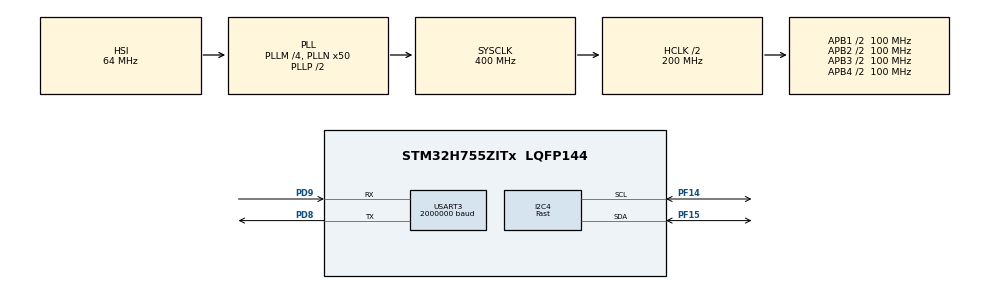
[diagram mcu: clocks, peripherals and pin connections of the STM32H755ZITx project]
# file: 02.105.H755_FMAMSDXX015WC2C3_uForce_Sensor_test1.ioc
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CortexM4.IPs=FATFS_M4\:I,FREERTOS_M4\:I,IWDG2\:I,RCC,WWDG2\:I,DMA,BDMA,MDMA,NVIC2\:I,ETH,DEBUG,PDM2PCM_M4\:I,PWR,RESMGR_UTILITY,SYS_M4\:I,USB_DEVICE_M4\:I,USB_HOST_M4\:I,CORTEX_M4\:I,GPIO,OPENAMP_M4\:I,VREFBUF,NUCLEO-H755ZI-Q
CortexM7.IPs=FATFS_M7\:I,FREERTOS_M7\:I,IWDG1\:I,RCC\:I,WWDG1\:I,DMA\:I,BDMA\:I,MDMA\:I,NVIC1\:I,ETH\:I,USB_OTG_FS\:I,SYS\:I,CORTEX_M7\:I,DEBUG\:I,PDM2PCM_M7\:I,PWR\:I,RESMGR_UTILITY\:I,USB_DEVICE_M7\:I,USB_HOST_M7\:I,GPIO\:I,OPENAMP_M7\:I,VREFBUF\:I,NUCLEO-H755ZI-Q\:I,USART3\:I,I2C4\:I
Dma.Request0=USART3_TX
Dma.Request1=USART3_RX
Dma.USART3_RX.1.Direction=DMA_PERIPH_TO_MEMORY
Dma.USART3_RX.1.EventEnable=DISABLE
Dma.USART3_RX.1.FIFOMode=DMA_FIFOMODE_DISABLE
Dma.USART3_RX.1.Instance=DMA1_Stream1
Dma.USART3_RX.1.MemDataAlignment=DMA_MDATAALIGN_BYTE
Dma.USART3_RX.1.MemInc=DMA_MINC_ENABLE
Dma.USART3_RX.1.Mode=DMA_CIRCULAR
Dma.USART3_RX.1.PeriphDataAlignment=DMA_PDATAALIGN_BYTE
Dma.USART3_RX.1.PeriphInc=DMA_PINC_DISABLE
Dma.USART3_RX.1.Polarity=HAL_DMAMUX_REQ_GEN_RISING
Dma.USART3_RX.1.Priority=DMA_PRIORITY_LOW
Dma.USART3_RX.1.RequestNumber=1
Dma.USART3_RX.1.SignalID=NONE
Dma.USART3_RX.1.SyncEnable=DISABLE
Dma.USART3_RX.1.SyncPolarity=HAL_DMAMUX_SYNC_NO_EVENT
Dma.USART3_RX.1.SyncRequestNumber=1
Dma.USART3_RX.1.SyncSignalID=NONE
Dma.USART3_TX.0.Direction=DMA_MEMORY_TO_PERIPH
Dma.USART3_TX.0.EventEnable=DISABLE
Dma.USART3_TX.0.FIFOMode=DMA_FIFOMODE_DISABLE
Dma.USART3_TX.0.Instance=DMA1_Stream0
Dma.USART3_TX.0.MemDataAlignment=DMA_MDATAALIGN_BYTE
Dma.USART3_TX.0.MemInc=DMA_MINC_ENABLE
Dma.USART3_TX.0.Mode=DMA_NORMAL
Dma.USART3_TX.0.PeriphDataAlignment=DMA_PDATAALIGN_BYTE
Dma.USART3_TX.0.PeriphInc=DMA_PINC_DISABLE
Dma.USART3_TX.0.Polarity=HAL_DMAMUX_REQ_GEN_RISING
Dma.USART3_TX.0.Priority=DMA_PRIORITY_LOW
Dma.USART3_TX.0.RequestNumber=1
Dma.USART3_TX.0.SignalID=NONE
Dma.USART3_TX.0.SyncEnable=DISABLE
Dma.USART3_TX.0.SyncPolarity=HAL_DMAMUX_SYNC_NO_EVENT
Dma.USART3_TX.0.SyncRequestNumber=1
Dma.USART3_TX.0.SyncSignalID=NONE
I2C4.I2C_Speed_Mode=I2C_Fast
I2C4.Timing=0x009034B6
Mcu.Family=STM32H7
Mcu.Name=STM32H755ZITx
Mcu.Package=LQFP144
NVIC1.DMA1_Stream0_IRQn=true\:0\:0\:false\:false\:true\:false\:true\:true
NVIC1.DMA1_Stream1_IRQn=true\:0\:0\:false\:false\:true\:false\:true\:true
NVIC1.PriorityGroup=NVIC_PRIORITYGROUP_4
NVIC1.USART3_IRQn=true\:0\:0\:false\:false\:true\:true\:true\:true
NVIC2.PriorityGroup=NVIC_PRIORITYGROUP_4
PB0.TagName=LD1
PB14.TagName=LD3
PC13.TagName=BUTTON
PD8.Mode=Asynchronous
PD8.PinAttribute=CortexM7
PD8.Signal=USART3_TX
PD8.TagName=VCP_RX
PD9.Mode=Asynchronous
PD9.PinAttribute=CortexM7
PD9.Signal=USART3_RX
PD9.TagName=VCP_TX
PE1.TagName=LD2
PF14.Mode=I2C
PF14.PinAttribute=CortexM7
PF14.Signal=I2C4_SCL
PF15.Mode=I2C
PF15.PinAttribute=CortexM7
PF15.Signal=I2C4_SDA
ProjectManager.HeapSize=M4-0x200,M7-0x200
ProjectManager.StackSize=M4-0x400,M7-0x400
ProjectManager.TargetToolchain=STM32CubeIDE
RCC.ADCFreq_Value=129000000
RCC.APB1Freq_Value=100000000
RCC.APB2Freq_Value=100000000
RCC.APB3Freq_Value=100000000
RCC.APB4Freq_Value=100000000
RCC.CortexFreq_Value=400000000
RCC.D1PPRE=RCC_APB3_DIV2
RCC.D2PPRE1=RCC_APB1_DIV2
RCC.D2PPRE2=RCC_APB2_DIV2
RCC.D3PPRE=RCC_APB4_DIV2
RCC.DIVM1=4
RCC.DIVN1=50
RCC.DIVQ1=5
RCC.HCLKFreq_Value=200000000
RCC.HPRE=RCC_HCLK_DIV2
RCC.PLL2FRACN=0
RCC.PLL3FRACN=0
RCC.PLLFRACN=0
RCC.SYSCLKFreq_VALUE=400000000
RCC.SYSCLKSource=RCC_SYSCLKSOURCE_PLLCLK
RCC.SupplySource=PWR_DIRECT_SMPS_SUPPLY
RCC.USBFreq_Value=160000000
USART3.BaudRate=2000000
USART3.VirtualMode-Asynchronous=VM_ASYNC
VP_SYS_M4_VS_Systick.Mode=SysTick
board=NUCLEO-H755ZI-Q

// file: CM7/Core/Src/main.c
/* USER CODE BEGIN Header */
/**
  ******************************************************************************
  * @file           : main.c
  * @brief          : Main program body
  ******************************************************************************
  * @attention
  *
  * Copyright (c) 2025 STMicroelectronics.
  * All rights reserved.
  *
  * This software is licensed under terms that can be found in the LICENSE file
  * in the root directory of this software component.
  * If no LICENSE file comes with this software, it is provided AS-IS.
  *
  ******************************************************************************
  */
/* USER CODE END Header */
#include "main.h"

/* USER CODE BEGIN Includes */
#include <stdio.h>
#include <string.h>
#include <stddef.h>
#include <stdarg.h>
#include <stdbool.h>
#include <stdlib.h>
/* USER CODE END Includes */

/* USER CODE BEGIN PD */

/* DUAL_CORE_BOOT_SYNC_SEQUENCE: Define for dual core boot synchronization    */
/*                             demonstration code based on hardware semaphore */
/* This define is present in both CM7/CM4 projects                            */
/* To comment when developping/debugging on a single core                     */
#define DUAL_CORE_BOOT_SYNC_SEQUENCE

#if defined(DUAL_CORE_BOOT_SYNC_SEQUENCE)
#ifndef HSEM_ID_0
#define HSEM_ID_0 (0U) /* HW semaphore 0*/
#endif
#endif /* DUAL_CORE_BOOT_SYNC_SEQUENCE */

/* USER CODE END PD */

I2C_HandleTypeDef hi2c4;

UART_HandleTypeDef huart3;
DMA_HandleTypeDef hdma_usart3_tx;
DMA_HandleTypeDef hdma_usart3_rx;

/* USER CODE BEGIN PV */

#define DEBUG_QUEUE_SIZE 8
#define DEBUG_MSG_LEN    128

static char debug_queue[DEBUG_QUEUE_SIZE][DEBUG_MSG_LEN];
static volatile uint8_t dbg_head = 0;
static volatile uint8_t dbg_tail = 0;
static volatile uint8_t dbg_busy = 0;

uint8_t dma_rx_buffer[64];

typedef struct
{
    float force_n;        // Force in Newtons
    float temperature_c;  // Temperature in Celsius
} MicroForce_Data_t;

/* I2C address */
#define MICROFORCE_I2C_ADDR   (0x28 << 1)

/* ===== SENSOR CONFIGURATION ===== */
/* Adjust to your exact sensor variant */
#define RATED_FORCE_N   15.0f     // datasheet 15 N sensor

/* ===== ADC CONSTANTS ===== */
#define ADC_COUNTS_MAX  16383.0f
#define OUTPUT_MIN      (0.2f * ADC_COUNTS_MAX)
#define OUTPUT_MAX      (0.8f * ADC_COUNTS_MAX)

HAL_StatusTypeDef MicroForce_Read(MicroForce_Data_t *data)
{
    uint8_t rx[4];

    if (HAL_I2C_Master_Receive(&hi2c4,
                              MICROFORCE_I2C_ADDR,
                              rx,
                              4,
                              10) != HAL_OK)
    {
        return HAL_ERROR;
    }

    /* Status bits (top 2 bits of byte 0) */
    uint8_t status = rx[0] >> 6;
    if (status != 0x00)
        return HAL_ERROR;

    /* 14-bit force output */
    uint16_t raw_force =
        ((rx[0] & 0x3F) << 8) | rx[1];

    /* 11-bit temperature output */
    uint16_t raw_temp =
        ((uint16_t)rx[2] << 3) | (rx[3] >> 5);

    /* ===== FORCE CONVERSION (Equation 2) ===== */
    data->force_n =
        ((raw_force - OUTPUT_MIN) * RATED_FORCE_N) /
        (OUTPUT_MAX - OUTPUT_MIN);

    /* ===== TEMPERATURE CONVERSION (Equation 3) ===== */
    data->temperature_c =
        ((float)raw_temp * 200.0f / 2047.0f) - 50.0f;

    return HAL_OK;
}

/* USER CODE END PV */

void SystemClock_Config(void);
static void MX_GPIO_Init(void);
static void MX_DMA_Init(void);
static void MX_USART3_UART_Init(void);
static void MX_I2C4_Init(void);

/* USER CODE BEGIN 0 */

static uint8_t queue_next(uint8_t idx)
{
    return (idx + 1) % DEBUG_QUEUE_SIZE;
}

void DebugPrint(const char *format, ...)
{
    uint8_t next = queue_next(dbg_head);

    // Queue full → drop message (safe behavior)
    if (next == dbg_tail)
        return;

    va_list args;
    va_start(args, format);
    vsnprintf(debug_queue[dbg_head], DEBUG_MSG_LEN, format, args);
    va_end(args);

    dbg_head = next;

    // Start TX if idle
    if (!dbg_busy)
    {
        dbg_busy = 1;
        HAL_UART_Transmit_DMA(
            &huart3,
            (uint8_t *)debug_queue[dbg_tail],
            strlen(debug_queue[dbg_tail])
        );
    }
}

void check_dma_data(void)
{
    static uint16_t old_pos = 0;
    static uint32_t total_pos = 0;

    uint16_t pos =
        sizeof(dma_rx_buffer) - __HAL_DMA_GET_COUNTER(&hdma_usart3_rx);

    if (pos == old_pos)
        return;

    char msg[128];
    int len = 0;

    if (pos > old_pos)
    {
        for (uint16_t i = old_pos; i < pos; i++)
        {
            len += snprintf(&msg[len], sizeof(msg) - len,
                            "[%lu] %02X '%c'\r\n",
                            total_pos++, dma_rx_buffer[i],
                            dma_rx_buffer[i]);
        }
    }
    else
    {
        for (uint16_t i = old_pos; i < sizeof(dma_rx_buffer); i++)
        {
            len += snprintf(&msg[len], sizeof(msg) - len,
                            "[%lu] %02X '%c'\r\n",
                            total_pos++, dma_rx_buffer[i],
                            dma_rx_buffer[i]);
        }

        for (uint16_t i = 0; i < pos; i++)
        {
            len += snprintf(&msg[len], sizeof(msg) - len,
                            "[%lu] %02X '%c'\r\n",
                            total_pos++, dma_rx_buffer[i],
                            dma_rx_buffer[i]);
        }
    }

    DebugPrint("%s", msg);
    old_pos = pos;
}

MicroForce_Data_t mf;

/* USER CODE END 0 */

int main(void)
{

/* USER CODE BEGIN Boot_Mode_Sequence_0 */
#if defined(DUAL_CORE_BOOT_SYNC_SEQUENCE)
  int32_t timeout;
#endif /* DUAL_CORE_BOOT_SYNC_SEQUENCE */
/* USER CODE END Boot_Mode_Sequence_0 */

/* USER CODE BEGIN Boot_Mode_Sequence_1 */
#if defined(DUAL_CORE_BOOT_SYNC_SEQUENCE)
  /* Wait until CPU2 boots and enters in stop mode or timeout*/
  timeout = 0xFFFF;
  while((__HAL_RCC_GET_FLAG(RCC_FLAG_D2CKRDY) != RESET) && (timeout-- > 0));
  if ( timeout < 0 )
  {
  Error_Handler();
  }
#endif /* DUAL_CORE_BOOT_SYNC_SEQUENCE */
/* USER CODE END Boot_Mode_Sequence_1 */
  /* MCU Configuration--------------------------------------------------------*/

  /* Reset of all peripherals, Initializes the Flash interface and the Systick. */
  HAL_Init();

  /* Configure the system clock */
  SystemClock_Config();
/* USER CODE BEGIN Boot_Mode_Sequence_2 */
#if defined(DUAL_CORE_BOOT_SYNC_SEQUENCE)
/* When system initialization is finished, Cortex-M7 will release Cortex-M4 by means of
HSEM notification */
/*HW semaphore Clock enable*/
__HAL_RCC_HSEM_CLK_ENABLE();
/*Take HSEM */
HAL_HSEM_FastTake(HSEM_ID_0);
/*Release HSEM in order to notify the CPU2(CM4)*/
HAL_HSEM_Release(HSEM_ID_0,0);
/* wait until CPU2 wakes up from stop mode */
timeout = 0xFFFF;
while((__HAL_RCC_GET_FLAG(RCC_FLAG_D2CKRDY) == RESET) && (timeout-- > 0));
if ( timeout < 0 )
{
Error_Handler();
}
#endif /* DUAL_CORE_BOOT_SYNC_SEQUENCE */
/* USER CODE END Boot_Mode_Sequence_2 */

  /* Initialize all configured peripherals */
  MX_GPIO_Init();
  MX_DMA_Init();
  MX_USART3_UART_Init();
  MX_I2C4_Init();
  /* USER CODE BEGIN 2 */
  DebugPrint("\r\n=== UART DMA RX Circular + TX Normal ===\r\n");

  DebugPrint("\r\n=== MicroForce Force Sensor Test ===\r\n");

  HAL_UART_Receive_DMA(&huart3, dma_rx_buffer, sizeof(dma_rx_buffer));

  uint32_t last = 0;
  /* USER CODE END 2 */

  /* Infinite loop */
  while (1)
  {

    /* USER CODE BEGIN 3 */

	  if (HAL_GetTick() - last >= 500)
	  {
		  last = HAL_GetTick();

		  if (MicroForce_Read(&mf) == HAL_OK)
		  {
		      DebugPrint("Force: %.3f N | Temp: %.2f C\r\n",
		                 mf.force_n,
		                 mf.temperature_c);
		  }
		  else
		  {
		      DebugPrint("Sensor read error\r\n");
		  }

	  }

	  check_dma_data();
  }
  /* USER CODE END 3 */
}

void SystemClock_Config(void)
{
  RCC_OscInitTypeDef RCC_OscInitStruct = {0};
  RCC_ClkInitTypeDef RCC_ClkInitStruct = {0};

  /** Supply configuration update enable
  */
  HAL_PWREx_ConfigSupply(PWR_DIRECT_SMPS_SUPPLY);

  /** Configure the main internal regulator output voltage
  */
  __HAL_PWR_VOLTAGESCALING_CONFIG(PWR_REGULATOR_VOLTAGE_SCALE1);

  while(!__HAL_PWR_GET_FLAG(PWR_FLAG_VOSRDY)) {}

  /** Initializes the RCC Oscillators according to the specified parameters
  * in the RCC_OscInitTypeDef structure.
  */
  RCC_OscInitStruct.OscillatorType = RCC_OSCILLATORTYPE_HSI;
  RCC_OscInitStruct.HSIState = RCC_HSI_DIV1;
  RCC_OscInitStruct.HSICalibrationValue = RCC_HSICALIBRATION_DEFAULT;
  RCC_OscInitStruct.PLL.PLLState = RCC_PLL_ON;
  RCC_OscInitStruct.PLL.PLLSource = RCC_PLLSOURCE_HSI;
  RCC_OscInitStruct.PLL.PLLM = 4;
  RCC_OscInitStruct.PLL.PLLN = 50;
  RCC_OscInitStruct.PLL.PLLP = 2;
  RCC_OscInitStruct.PLL.PLLQ = 5;
  RCC_OscInitStruct.PLL.PLLR = 2;
  RCC_OscInitStruct.PLL.PLLRGE = RCC_PLL1VCIRANGE_3;
  RCC_OscInitStruct.PLL.PLLVCOSEL = RCC_PLL1VCOWIDE;
  RCC_OscInitStruct.PLL.PLLFRACN = 0;
  if (HAL_RCC_OscConfig(&RCC_OscInitStruct) != HAL_OK)
  {
    Error_Handler();
  }

  /** Initializes the CPU, AHB and APB buses clocks
  */
  RCC_ClkInitStruct.ClockType = RCC_CLOCKTYPE_HCLK|RCC_CLOCKTYPE_SYSCLK
                              |RCC_CLOCKTYPE_PCLK1|RCC_CLOCKTYPE_PCLK2
                              |RCC_CLOCKTYPE_D3PCLK1|RCC_CLOCKTYPE_D1PCLK1;
  RCC_ClkInitStruct.SYSCLKSource = RCC_SYSCLKSOURCE_PLLCLK;
  RCC_ClkInitStruct.SYSCLKDivider = RCC_SYSCLK_DIV1;
  RCC_ClkInitStruct.AHBCLKDivider = RCC_HCLK_DIV2;
  RCC_ClkInitStruct.APB3CLKDivider = RCC_APB3_DIV2;
  RCC_ClkInitStruct.APB1CLKDivider = RCC_APB1_DIV2;
  RCC_ClkInitStruct.APB2CLKDivider = RCC_APB2_DIV2;
  RCC_ClkInitStruct.APB4CLKDivider = RCC_APB4_DIV2;

  if (HAL_RCC_ClockConfig(&RCC_ClkInitStruct, FLASH_LATENCY_2) != HAL_OK)
  {
    Error_Handler();
  }
}

static void MX_I2C4_Init(void)
{

  hi2c4.Instance = I2C4;
  hi2c4.Init.Timing = 0x009034B6;
  hi2c4.Init.OwnAddress1 = 0;
  hi2c4.Init.AddressingMode = I2C_ADDRESSINGMODE_7BIT;
  hi2c4.Init.DualAddressMode = I2C_DUALADDRESS_DISABLE;
  hi2c4.Init.OwnAddress2 = 0;
  hi2c4.Init.OwnAddress2Masks = I2C_OA2_NOMASK;
  hi2c4.Init.GeneralCallMode = I2C_GENERALCALL_DISABLE;
  hi2c4.Init.NoStretchMode = I2C_NOSTRETCH_DISABLE;
  if (HAL_I2C_Init(&hi2c4) != HAL_OK)
  {
    Error_Handler();
  }

  /** Configure Analogue filter
  */
  if (HAL_I2CEx_ConfigAnalogFilter(&hi2c4, I2C_ANALOGFILTER_ENABLE) != HAL_OK)
  {
    Error_Handler();
  }

  /** Configure Digital filter
  */
  if (HAL_I2CEx_ConfigDigitalFilter(&hi2c4, 0) != HAL_OK)
  {
    Error_Handler();
  }

}

static void MX_USART3_UART_Init(void)
{

  huart3.Instance = USART3;
  huart3.Init.BaudRate = 2000000;
  huart3.Init.WordLength = UART_WORDLENGTH_8B;
  huart3.Init.StopBits = UART_STOPBITS_1;
  huart3.Init.Parity = UART_PARITY_NONE;
  huart3.Init.Mode = UART_MODE_TX_RX;
  huart3.Init.HwFlowCtl = UART_HWCONTROL_NONE;
  huart3.Init.OverSampling = UART_OVERSAMPLING_16;
  huart3.Init.OneBitSampling = UART_ONE_BIT_SAMPLE_DISABLE;
  huart3.Init.ClockPrescaler = UART_PRESCALER_DIV1;
  huart3.AdvancedInit.AdvFeatureInit = UART_ADVFEATURE_NO_INIT;
  if (HAL_UART_Init(&huart3) != HAL_OK)
  {
    Error_Handler();
  }
  if (HAL_UARTEx_SetTxFifoThreshold(&huart3, UART_TXFIFO_THRESHOLD_1_8) != HAL_OK)
  {
    Error_Handler();
  }
  if (HAL_UARTEx_SetRxFifoThreshold(&huart3, UART_RXFIFO_THRESHOLD_1_8) != HAL_OK)
  {
    Error_Handler();
  }
  if (HAL_UARTEx_DisableFifoMode(&huart3) != HAL_OK)
  {
    Error_Handler();
  }

}

static void MX_DMA_Init(void)
{

  /* DMA controller clock enable */
  __HAL_RCC_DMA1_CLK_ENABLE();

  /* DMA interrupt init */
  /* DMA1_Stream0_IRQn interrupt configuration */
  HAL_NVIC_SetPriority(DMA1_Stream0_IRQn, 0, 0);
  HAL_NVIC_EnableIRQ(DMA1_Stream0_IRQn);
  /* DMA1_Stream1_IRQn interrupt configuration */
  HAL_NVIC_SetPriority(DMA1_Stream1_IRQn, 0, 0);
  HAL_NVIC_EnableIRQ(DMA1_Stream1_IRQn);

}

static void MX_GPIO_Init(void)
{

  /* GPIO Ports Clock Enable */
  __HAL_RCC_GPIOF_CLK_ENABLE();
  __HAL_RCC_GPIOD_CLK_ENABLE();

}

/* USER CODE BEGIN 4 */
void HAL_UART_TxCpltCallback(UART_HandleTypeDef *huart)
{
    if (huart == &huart3)
    {
        dbg_tail = queue_next(dbg_tail);

        if (dbg_tail != dbg_head)
        {
            // More messages pending
            HAL_UART_Transmit_DMA(
                &huart3,
                (uint8_t *)debug_queue[dbg_tail],
                strlen(debug_queue[dbg_tail])
            );
        }
        else
        {
            dbg_busy = 0;
        }
    }
}

/* USER CODE END 4 */

void Error_Handler(void)
{
  __disable_irq();
  while (1)
  {
  }
}
